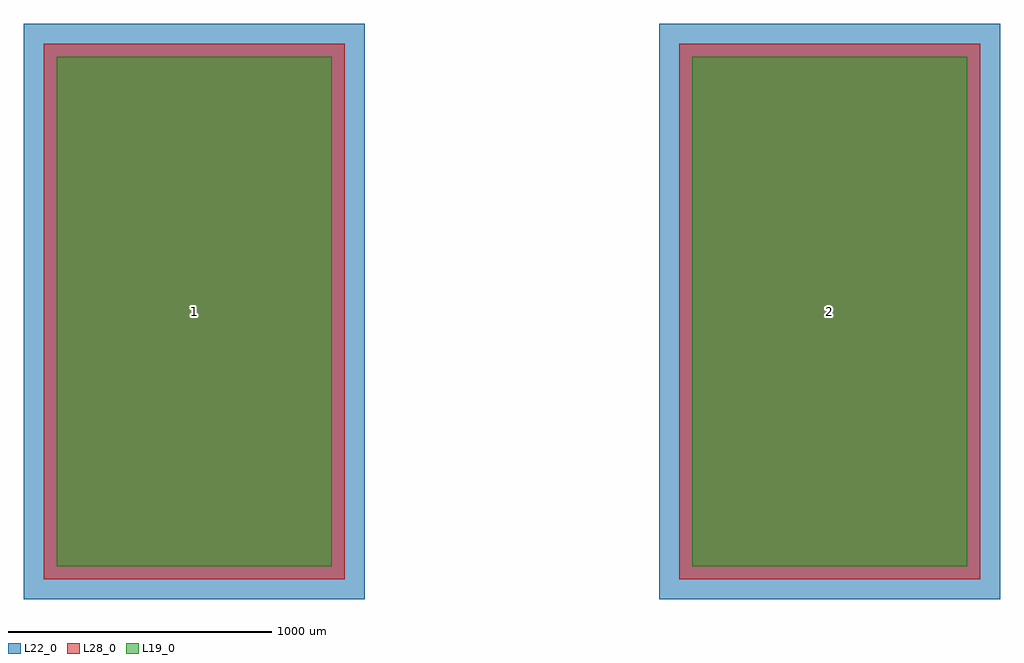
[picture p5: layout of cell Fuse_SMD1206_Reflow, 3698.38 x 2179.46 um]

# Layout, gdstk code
import gdstk
lib = gdstk.Library(unit=1e-6, precision=1e-09)
def R(c, l, rs):  # rectangles x0, y0, x1, y1
    for r in rs: c.add(gdstk.rectangle(r[:2], r[2:], *l))
L19_0 = (19, 0)
L22_0 = (22, 0)
L28_0 = (28, 0)

fuse_smd1206_reflow = lib.new_cell('Fuse_SMD1206_Reflow')
R(fuse_smd1206_reflow, L19_0, [(-1724.19,-964.73,-683.73,964.73), (683.73,-964.73,1724.19,964.73)])
R(fuse_smd1206_reflow, L22_0, [(-1849.19,-1089.73,-558.73,1089.73), (558.73,-1089.73,1849.19,1089.73)])
R(fuse_smd1206_reflow, L28_0, [(-1774.19,-1014.73,-633.73,1014.73), (633.73,-1014.73,1774.19,1014.73)])
fuse_smd1206_reflow.add(gdstk.Label('2', (1203.96,0), layer=28, texttype=0))
fuse_smd1206_reflow.add(gdstk.Label('1', (-1203.96,0), layer=28, texttype=0))
fuse_smd1206_reflow.add(gdstk.Label('type', (-449.58,-3200.4), layer=9, texttype=0))
fuse_smd1206_reflow.add(gdstk.Label('devicename', (-99.06,2750.82), layer=9, texttype=0))

lib.write_gds('Fuse_SMD1206_Reflow.gds')
